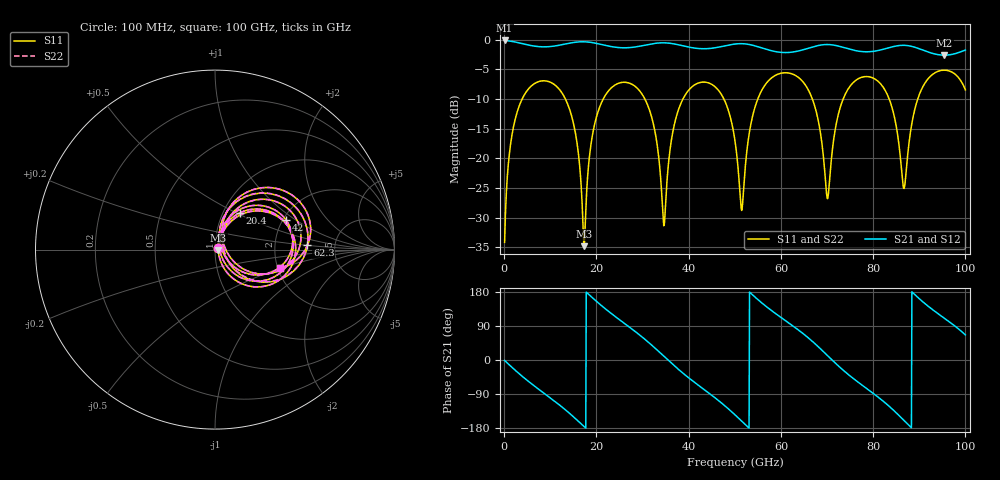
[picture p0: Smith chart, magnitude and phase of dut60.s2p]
! Touchstone file exported from HFSS 2026.1.0
!  File:  C:/ffzhzh/LocalFiles/Ansys_Project_Files/temp_train_TSV_RDL_60_1783447390_41684.aedt
!  Generated:  02:19:44 AM Jul  8, 2026
!  Design:  TSV_RDL
!  Project:  temp_train_TSV_RDL_60_1783447390_41684
! Variables:
!  h_bsmrdl = 3.18um
!  h_ox = 20um
!  h_rdl = 5um
!  h_sub = 55.14um
!  h_tmrdl = 2.41um
!  h_tsv = 55.14um
!  h_via = 3um
!  l_bsmrdl = 580.94um
!  l_sub = 3601.3um
!  l_tmrdl = 324.57um
!  m_sub = 200um
!  pitch = 47.16um
!  r_tsv = 7.74um
!  s_tmrdl = 10um
!  w_bsmrdl = 28.1um
!  w_sub = 500um
!  w_tmrdl = 25.3um
!  x_tsv_center1 = 337.22um
!  x_tsv_center2 = 946.26um
!  x_tsv_center3 = 1296.13um
!  x_tsv_center4 = 1905.17um
!  x_tsv_center5 = 2255.04um
!  x_tsv_center6 = 2864.08um
# GHz S MA R 50.000000
! Terminal data exported
! Port[1] = TM_RDL1_1_T1
! Port[2] = TM_RDL5_1_T1
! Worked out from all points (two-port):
!   1000 points, 100 MHz to 100 GHz, reference 50 ohm
!   highest |S21| = -0.14 dB at 100 MHz (marker M1); lowest = -2.6 dB at 95.4 GHz (marker M2)
!   |S21| within 3 dB of the highest: start of sweep to end of sweep
!   lowest |S11| = -34.8 dB at 17.3 GHz (marker M3), VSWR 1.04, Z = 51.8 - j0.166 ohm
!   |S11| at or under -10 dB: 13.27 GHz to 21.49 GHz (8.221 GHz wide, 47.3 % of centre); 30.5 GHz to 38.77 GHz (8.271 GHz wide, 23.9 % of centre); 47.63 GHz to 55 GHz (7.364 GHz wide, 14.4 % of centre) (the widest 3 of 6)
!   |S22| runs from -34.8 to -5.2 dB; largest |S21 - S12| = 2.8e-13
!   S11 on the Smith chart (normalised r, x): 100 MHz: 1.03, +0.02; 20.4 GHz: 1.20, +0.53; 42 GHz: 2.08, +0.84; 62.3 GHz: 3.12, +0.20; 100 GHz: 2.05, -0.50
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0.1  0.01954 32.3  0.9836 -1.2  0.9836 -1.2  0.01954 32.3
! Gamma 0 0 0 0
! Port Impedance 50 0 50 0
2.4  0.2135 56.8  0.9542 -27.1  0.9542 -27.1  0.2135 56.8
7.5  0.4427 10.4  0.8728 -77.2  0.8728 -77.2  0.4427 10.4
14  0.2709 -47.9  0.9304 -138.9  0.9304 -138.9  0.271 -47.9
16.8  0.05016 -60.7  0.9589 -169.6  0.9589 -169.6  0.05015 -60.7
17.3  0.01815 -5.1  0.9588 -175.3  0.9588 -175.3  0.01813 -5.1
20.4  0.2496 55.6  0.9224 150.7  0.9224 150.7  0.2496 55.6
27.4  0.4259 -6.0  0.8575 84.6  0.8575 84.6  0.426 -6.0
33.4  0.1114 -54.2  0.936 23.8  0.936 23.8  0.1114 -54.5
34.7  0.02719 18.7  0.9395 9.2  0.9395 9.2  0.02657 18.7
42  0.4291 22.5  0.8422 -65.6  0.8422 -65.6  0.429 22.6
50.1  0.1354 -41.9  0.9183 -145.2  0.9183 -145.2  0.1352 -42.3
51.5  0.03631 18.6  0.9239 -161.3  0.9239 -161.3  0.03501 18.5
55.1  0.3238 62.0  0.869 158.5  0.869 158.5  0.3235 62.4
62.3  0.5158 2.7  0.7833 92.6  0.7833 92.6  0.5158 3.0
66.7  0.3247 -34.0  0.8634 50.5  0.8634 50.5  0.325 -33.4
70.1  0.0456 10.1  0.9087 11.7  0.9087 11.7  0.04825 10.2
74.8  0.395 45.2  0.8318 -40.1  0.8318 -40.1  0.3951 45.1
83.4  0.3212 -24.9  0.8538 -121.3  0.8538 -121.3  0.3213 -24.8
86.7  0.05557 21.9  0.8953 -159.6  0.8953 -159.6  0.05617 21.9
95.4  0.5525 19.9  0.7396 110.6  0.7396 110.6  0.5525 20.1
100  0.3767 -16.1  0.8167 66.2  0.8167 66.2  0.3771 -15.6
